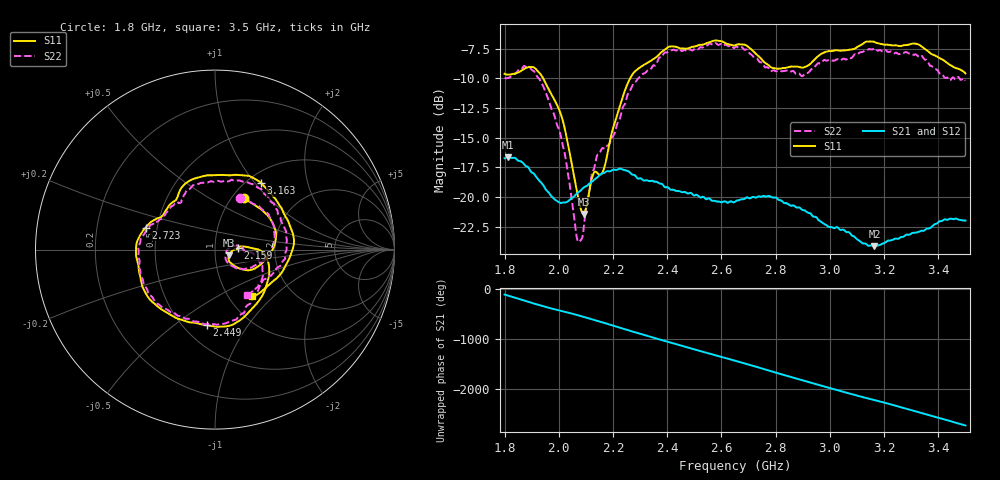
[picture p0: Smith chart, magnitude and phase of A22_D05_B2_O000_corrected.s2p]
! Created with skrf 1.9.0 (http://scikit-rf.org).
# Hz S RI R 50.0
!freq ReS11 ImS11 ReS21 ImS21 ReS12 ImS12 ReS22 ImS22
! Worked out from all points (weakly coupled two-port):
!   1601 points, 1.8 GHz to 3.5 GHz, reference 50 ohm
!   highest |S21| = -16.65 dB at 1.812 GHz (marker M1); lowest = -24.1 dB at 3.164 GHz (marker M2)
!   lowest |S11| = -21.4 dB at 2.091 GHz (marker M3), VSWR 1.19, Z = 58.4 - j3.76 ohm
!   |S11| at or under -10 dB: 1.943 GHz to 2.263 GHz (319.9 MHz wide, 15.2 % of centre)
!   |S22| runs from -23.8 to -7.0 dB; largest |S21 - S12| = 0.0026
!   S11 on the Smith chart (normalised r, x): 1.8 GHz: 1.13, +0.73; 2.159 GHz: 1.29, +0.02; 2.449 GHz: 0.65, -0.66; 2.723 GHz: 0.43, +0.13; 3.163 GHz: 1.16, +1.08; 3.5 GHz: 1.28, -0.75
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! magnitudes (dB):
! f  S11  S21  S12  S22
! 1.8 GHz  -9.6  -16.7  -16.7  -9.9
! 1.812 GHz  -9.7  -16.6  -16.7  -10.0
! 1.881 GHz  -9.1  -17.4  -17.4  -9.1
! 1.94 GHz  -9.9  -18.9  -18.9  -10.6
! 2.013 GHz  -13.4  -20.5  -20.5  -15.5
! 2.066 GHz  -19.4  -19.7  -19.7  -23.3
! 2.084 GHz  -21.2  -19.4  -19.3  -23.5
! 2.091 GHz  -21.4  -19.2  -19.3  -22.8
! 2.128 GHz  -18.0  -18.6  -18.6  -17.7
! 2.159 GHz  -18.0  -18.0  -18.0  -15.9
! 2.259 GHz  -10.2  -17.9  -17.9  -11.1
! 2.367 GHz  -8.0  -18.8  -18.7  -8.4
! 2.449 GHz  -7.5  -19.5  -19.5  -7.6
! 2.65 GHz  -7.2  -20.4  -20.4  -7.4
! 2.723 GHz  -7.8  -20.0  -20.0  -8.2
! 2.796 GHz  -9.1  -20.0  -20.0  -9.3
! 2.934 GHz  -8.6  -21.5  -21.5  -9.2
! 3.163 GHz  -6.9  -24.1  -24.1  -7.5
! 3.164 GHz  -6.9  -24.1  -24.1  -7.4
! 3.217 GHz  -7.2  -23.7  -23.7  -7.8
! 3.324 GHz  -7.1  -23.0  -22.9  -8.1
! 3.5 GHz  -9.6  -22.0  -22.0  -10.2
